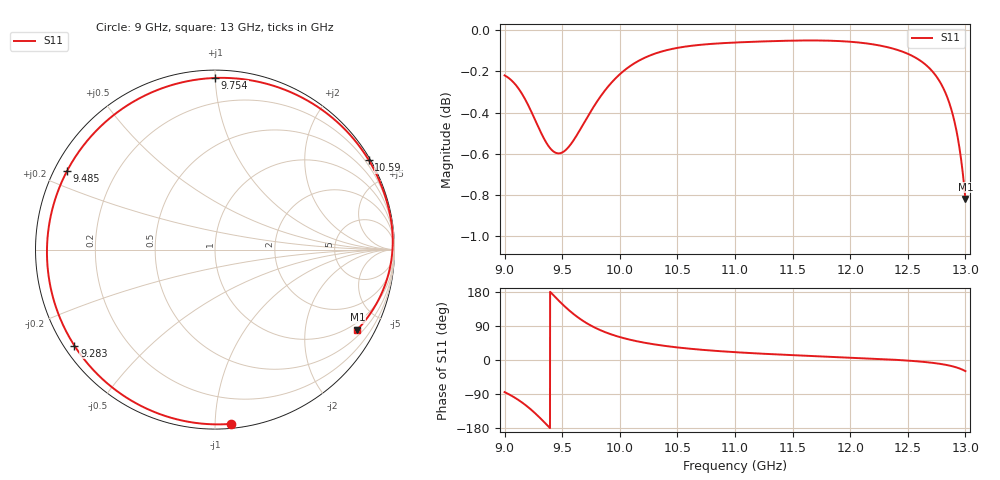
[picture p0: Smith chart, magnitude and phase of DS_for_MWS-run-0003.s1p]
! TOUCHSTONE file generated by CST DESIGN STUDIO
! Date and time: Tue Feb  4 15:43:02 2025
! Project name: C:\Work\MatlabApps\UnitCellOptimizationMatlab\CST\unitcell.cst
! Tree item: Tasks\Sweep1\SPara1\S-Parameters
! Header version: 2024
! Port assignment regex: !\s*Touchstone port\s*([0-9]+)\s*=\s*(CST MWS port|CST DES external port|CST DES block port)\s*(.+)\s* \(\"(.*)\"\)(\s*mode\s*([0-9]+))?.*
! Touchstone port assignment:
! Touchstone port 1 = CST DES external port 1 ("")
# GHz S MA R 50
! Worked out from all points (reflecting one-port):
!   4001 points, 9 GHz to 13 GHz, reference 50 ohm
!   lowest |S11| = -0.8 dB at 13 GHz (marker M1), VSWR 21.20, Z = 35.6 - j185 ohm
!   phase of S11 starts at -85 deg and turns -305 deg over the sweep
!   S11 on the Smith chart (normalised r, x): 9 GHz: 0.03, -1.10; 9.283 GHz: 0.03, -0.31; 9.485 GHz: 0.04, +0.25; 9.754 GHz: 0.04, +1.00; 10.59 GHz: 0.07, +3.70; 13 GHz: 0.71, -3.69
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9  0.9751 -84.7
9.085  0.9708 -98.7
9.155  0.9647 -112.9
9.22  0.9571 -128.4
9.283  0.9487 -145.7
9.336  0.9419 -161.5
9.385  0.937 -176.8
9.433  0.9341 168.0
9.485  0.9336 152.1
9.5  0.9339 147.7
9.559  0.937 131.3
9.618  0.9422 116.7
9.682  0.9487 103.0
9.754  0.9562 90.1
9.871  0.9669 73.7
10  0.9757 60.5
10.101  0.9807 52.6
10.216  0.9848 45.5
10.5  0.9902 33.2
10.593  0.9912 30.2
11  0.9932 20.7
11.5  0.9943 12.8
12  0.9936 6.3
12.5  0.987 -1.6
12.67  0.9801 -6.0
12.801  0.9691 -11.2
12.913  0.9481 -18.7
13  0.9099 -29.3
